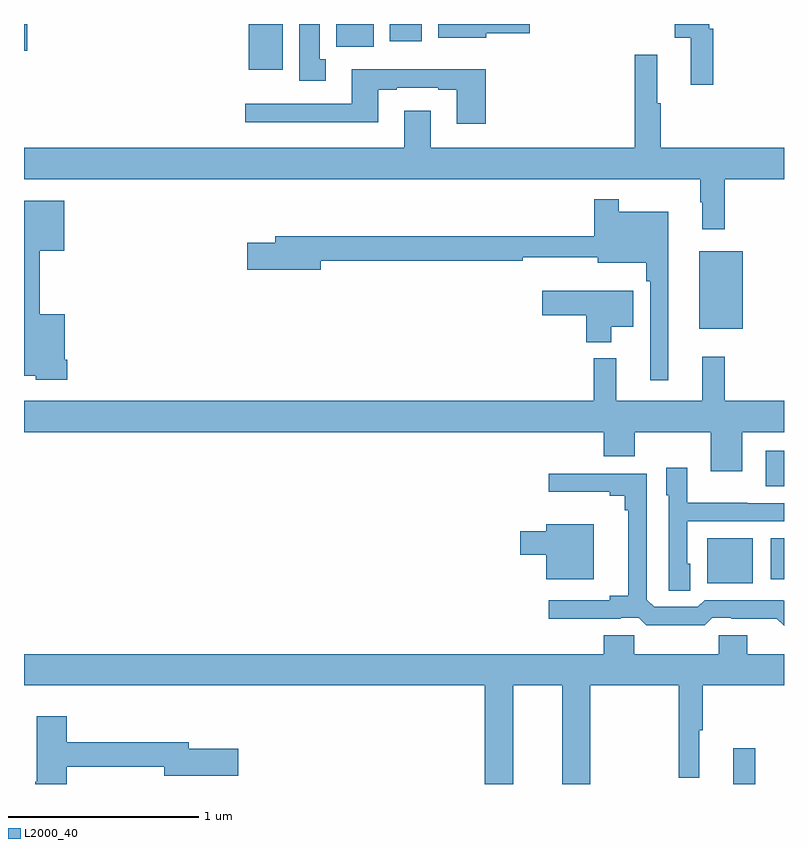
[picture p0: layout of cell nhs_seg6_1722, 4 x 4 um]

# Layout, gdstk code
import gdstk
lib = gdstk.Library(unit=1e-6, precision=1e-09)
def R(c, l, rs):  # rectangles x0, y0, x1, y1
    for r in rs: c.add(gdstk.rectangle(r[:2], r[2:], *l))
def P(c, l, *ps):  # polygons
    for p in ps: c.add(gdstk.Polygon(p, *l))
L2000_40 = (2000, 40)

nhs_seg6_1722 = lib.new_cell('nhs_seg6_1722')
R(nhs_seg6_1722, L2000_40, [(218.732,929.5,218.849,929.689), (218.597,930.557,218.836,930.793), (218.93,930.578,219,930.793), (218.903,931.068,219,931.255), (218.555,931.895,218.782,932.305), (216.182,933.26,216.361,933.5), (215,933.359,215.017,933.5), (216.644,933.38,216.841,933.5), (216.926,933.408,217.093,933.5)])
P(nhs_seg6_1722, L2000_40, [(217.432,933.452),(217.663,933.452),(217.663,933.5),(217.181,933.5),(217.181,933.428),(217.432,933.428)],
  [(218.627,933.476),(218.607,933.476),(218.607,933.5),(218.424,933.5),(218.424,933.428),(218.51,933.428),(218.51,933.18),(218.627,933.18)],
  [(216.589,933.314),(216.556,933.314),(216.556,933.5),(216.449,933.5),(216.449,933.201),(216.589,933.201)],
  [(217.43,933.262),(216.725,933.262),(216.725,933.081),(216.165,933.081),(216.165,932.984),(216.865,932.984),(216.865,933.153),(216.961,933.153),(216.961,933.165),(217.181,933.165),(217.181,933.153),(217.277,933.153),(217.277,932.976),(217.43,932.976)],
  [(218.351,933.084),(218.333,933.084),(218.333,933.337),(218.215,933.337),(218.215,932.848),(217.141,932.848),(217.141,933.043),(217.001,933.043),(217.001,932.848),(215,932.848),(215,932.684),(218.559,932.684),(218.559,932.561),(218.57,932.561),(218.57,932.421),(218.687,932.421),(218.687,932.684),(219,932.684),(219,932.848),(218.351,932.848)],
  [(218.392,932.512),(218.131,932.512),(218.131,932.578),(218.002,932.578),(218.002,932.383),(216.323,932.383),(216.323,932.349),(216.174,932.349),(216.174,932.207),(216.562,932.207),(216.562,932.254),(217.625,932.254),(217.625,932.273),(218.021,932.273),(218.021,932.243),(218.275,932.243),(218.275,932.147),(218.295,932.147),(218.295,931.626),(218.392,931.626)],
  [(215.228,931.732),(215.215,931.732),(215.215,931.972),(215.083,931.972),(215.083,932.306),(215.212,932.306),(215.212,932.569),(215,932.569),(215,931.649),(215.061,931.649),(215.061,931.628),(215.228,931.628)],
  [(218.092,931.907),(218.206,931.907),(218.206,932.095),(217.728,932.095),(217.728,931.966),(217.958,931.966),(217.958,931.826),(218.092,931.826)],
  [(218.779,931.352),(219,931.352),(219,931.516),(218.687,931.516),(218.687,931.75),(218.57,931.75),(218.57,931.516),(218.117,931.516),(218.117,931.741),(217.999,931.741),(217.999,931.516),(215,931.516),(215,931.352),(218.051,931.352),(218.051,931.224),(218.215,931.224),(218.215,931.352),(218.615,931.352),(218.615,931.146),(218.779,931.146)],
  [(218.506,930.66),(218.49,930.66),(218.49,930.882),(219,930.882),(219,930.978),(218.807,930.978),(218.807,930.979),(218.49,930.979),(218.49,931.165),(218.381,931.165),(218.381,931.02),(218.394,931.02),(218.394,930.517),(218.506,930.517)],
  [(219,930.465),(218.997,930.468),(218.583,930.468),(218.547,930.432),(218.316,930.432),(218.277,930.471),(218.277,931.134),(217.761,931.134),(217.761,931.037),(218.084,931.037),(218.084,931.018),(218.161,931.018),(218.161,930.941),(218.18,930.941),(218.18,930.491),(218.084,930.491),(218.084,930.468),(217.761,930.468),(217.761,930.371),(218.141,930.371),(218.141,930.375),(218.235,930.375),(218.275,930.336),(218.583,930.336),(218.622,930.375),(218.722,930.375),(218.722,930.371),(218.963,930.371),(219,930.334)],
  [(217.999,930.868),(217.748,930.868),(217.748,930.829),(217.611,930.829),(217.611,930.707),(217.748,930.707),(217.748,930.578),(217.999,930.578)],
  [(217.576,930.02),(217.832,930.02),(217.832,929.5),(217.98,929.5),(217.98,930.02),(218.445,930.02),(218.445,929.532),(218.555,929.532),(218.555,929.784),(218.573,929.784),(218.573,930.02),(219,930.02),(219,930.184),(218.806,930.184),(218.806,930.282),(218.656,930.282),(218.656,930.184),(218.211,930.184),(218.211,930.282),(218.051,930.282),(218.051,930.184),(215,930.184),(215,930.02),(217.424,930.02),(217.424,929.5),(217.576,929.5)],
  [(215.225,929.59),(215.738,929.59),(215.738,929.543),(216.127,929.543),(216.127,929.685),(215.866,929.685),(215.866,929.719),(215.225,929.719),(215.225,929.857),(215.066,929.857),(215.066,929.513),(215.059,929.513),(215.059,929.5),(215.225,929.5)])

lib.write_gds('nhs_seg6_1722.gds')
